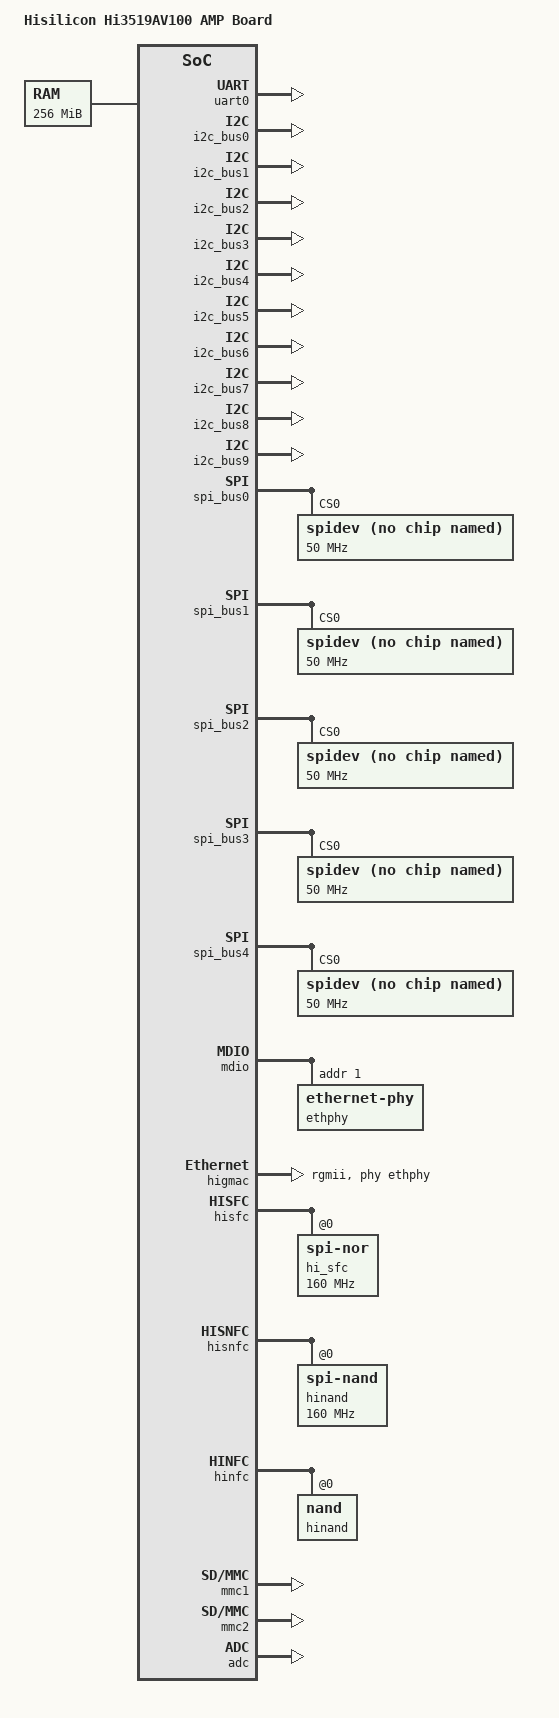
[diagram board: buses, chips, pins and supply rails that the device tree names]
/*
 * Copyright (c) 2013-2014 Linaro Ltd.
 * Copyright (c) 2015 HiSilicon Technologies Co., Ltd.
 *
 * This program is free software; you can redistribute  it and/or modify it
 * under  the terms of  the GNU General  Public License as published by the
 * Free Software Foundation;  either version 2 of the  License, or (at your
 * option) any later version.
 *
 * This program is distributed in the hope that it will be useful,
 * but WITHOUT ANY WARRANTY; without even the implied warranty of
 * MERCHANTABILITY or FITNESS FOR A PARTICULAR PURPOSE. See the
 * GNU General Public License for more details.
 *
 * You should have received a copy of the GNU General Public License
 * along with this program.  If not, see <http://www.gnu.org/licenses/>.
 *
 */

/dts-v1/;
#include "hi3519av100.dtsi"

/ {
	model = "Hisilicon Hi3519AV100 AMP Board";
	compatible = "hisilicon,hi3519av100";

	chosen {
		linux,initrd-start = <0x23000040>;
		linux,initrd-end = <0x24000000>;
	};

	cpus {
		#address-cells = <1>;
		#size-cells = <0>;

		cpu@0 {
			compatible = "arm,cortex-a53";
			device_type = "cpu";
			reg = <0>;
			cci-control-port = <&cci_control0>;
		};
	};

	memory {
		device_type = "memory";
		reg = <0x32000000 0x10000000>;
	};
};

&ipcm {
	status = "okay";
};

&uart0 {
	status = "okay";
};

&i2c_bus0 {
	status = "okay";
};

&i2c_bus1 {
	status = "okay";
};

&i2c_bus2 {
	status = "okay";
};

&i2c_bus3 {
	status = "okay";
};

&i2c_bus4 {
	status = "okay";
};

&i2c_bus5 {
	status = "okay";
};

&i2c_bus6 {
	status = "okay";
};

&i2c_bus7 {
	status = "okay";
};

&i2c_bus8 {
	status = "okay";
};

&i2c_bus9 {
	status = "okay";
};

&spi_bus0{
	status = "okay";
	
	spidev@0 {
		compatible = "rohm,dh2228fv";
		reg = <0>;
		pl022,interface = <0>;
		pl022,com-mode = <0>;
		spi-max-frequency = <50000000>;
	};
};

&spi_bus1{
	status = "okay";
	
	spidev@0 {
		compatible = "rohm,dh2228fv";
		reg = <0>;
		pl022,interface = <0>;
		pl022,com-mode = <0>;
		spi-max-frequency = <50000000>;
	};
};

&spi_bus2{
	status = "okay";
	
	spidev@0 {
		compatible = "rohm,dh2228fv";
		reg = <0>;
		pl022,interface = <0>;
		pl022,com-mode = <0>;
		spi-max-frequency = <50000000>;
	};
};

&spi_bus3{
	status = "okay";
	
	spidev@0 {
		compatible = "rohm,dh2228fv";
		reg = <0>;
		pl022,interface = <0>;
		pl022,com-mode = <0>;
		spi-max-frequency = <50000000>;
	};
};

&spi_bus4{
	status = "okay";
	
	spidev@0 {
		compatible = "rohm,dh2228fv";
		reg = <0>;
		pl022,interface = <0>;
		pl022,com-mode = <0>;
		spi-max-frequency = <50000000>;
	};
};

&mdio {
	ethphy: ethernet-phy@1 {
		reg = <1>;
	};
};

&higmac {
	phy-handle = <&ethphy>;
	phy-mode = "rgmii";
};

&hisfc {
	hi_sfc {
		compatible = "jedec,spi-nor";
		reg = <0>;
		spi-max-frequency = <160000000>;
		m25p,fast-read;
	};
};

&hisnfc {
	hinand {
		compatible = "jedec,spi-nand";
		reg = <0>;
		spi-max-frequency = <160000000>;
	};
};

&hinfc {
	hinand {
		compatible = "jedec,nand";
		reg = <0>;
		nand-max-frequency = <200000000>;
	};
};

&hivdmac {
	        status = "okay";
};

&hidmac {
	status = "okay";
};

&hiedmacv310_0 {
	status = "disabled";
};

&hiedmacv310_1 {
	status = "disabled";
};

/*&mmc0 {
	status = "okay";
};*/

&mmc1 {
	status = "okay";
};

&mmc2 {
	status = "okay";
};

&gpio_chip0 {
	status = "okay";
};

&gpio_chip1 {
	status = "okay";
};

&gpio_chip2 {
	status = "okay";
};

&gpio_chip3 {
	status = "okay";
};

&gpio_chip4 {
	status = "okay";
};

&gpio_chip5 {
	status = "okay";
};

&gpio_chip6 {
	status = "okay";
};

&gpio_chip7 {
	status = "okay";
};

&gpio_chip8 {
	status = "okay";
};

&gpio_chip9 {
	status = "okay";
};

&gpio_chip10 {
	status = "okay";
};

&gpio_chip11 {
	status = "okay";
};

&gpio_chip12 {
	status = "okay";
};

&gpio_chip13 {
	status = "okay";
};

&gpio_chip14 {
	status = "okay";
};

&adc {
	status = "okay";
};
